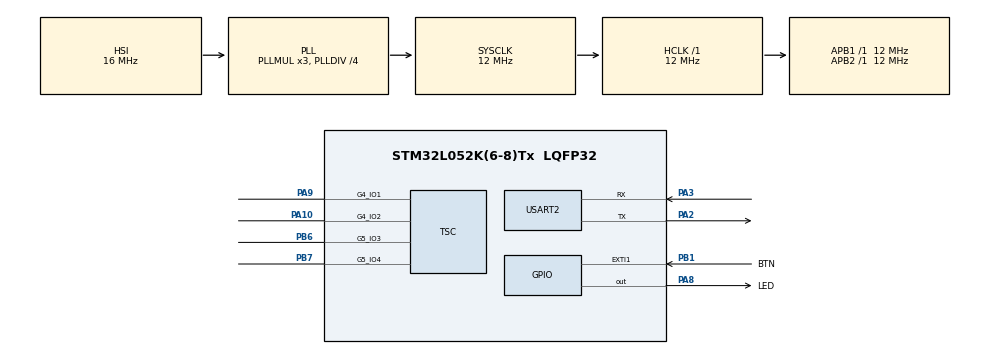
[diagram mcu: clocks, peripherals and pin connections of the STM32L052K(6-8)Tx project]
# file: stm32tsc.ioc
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Mcu.Family=STM32L0
Mcu.Name=STM32L052K(6-8)Tx
Mcu.Package=LQFP32
NVIC.EXTI0_1_IRQn=true\:0\:0\:false\:false\:true\:true
NVIC.RTC_IRQn=true\:0\:0\:false\:false\:true\:true
NVIC.TSC_IRQn=true\:0\:0\:false\:false\:true\:true
NVIC.USART2_IRQn=true\:0\:0\:false\:false\:true\:true
PA10.Mode=G4_IO2-Channel
PA10.Signal=TSC_G4_IO2
PA13.Mode=Serial_Wire
PA13.Signal=SYS_SWDIO
PA14.Mode=Serial_Wire
PA14.Signal=SYS_SWCLK
PA2.Mode=Asynchronous
PA2.Signal=USART2_TX
PA3.Mode=Asynchronous
PA3.Signal=USART2_RX
PA8.GPIO_Label=LED
PA8.GPIO_PuPd=GPIO_NOPULL
PA8.PinState=GPIO_PIN_SET
PA8.Signal=GPIO_Output
PA9.Mode=G4_IO1-Sampling
PA9.Signal=TSC_G4_IO1
PB1.GPIO_Label=BTN
PB1.GPIO_ModeDefaultEXTI=GPIO_MODE_IT_FALLING
PB1.GPIO_PuPd=GPIO_PULLUP
PB1.Signal=GPXTI1
PB6.Mode=G5_IO3-Channel
PB6.Signal=TSC_G5_IO3
PB7.Mode=G5_IO4-Sampling
PB7.Signal=TSC_G5_IO4
ProjectManager.HeapSize=0x200
ProjectManager.StackSize=0x400
ProjectManager.TargetToolchain=Makefile
RCC.AHBFreq_Value=12000000
RCC.APB1Freq_Value=12000000
RCC.APB1TimFreq_Value=12000000
RCC.APB2Freq_Value=12000000
RCC.APB2TimFreq_Value=12000000
RCC.HCLKFreq_Value=12000000
RCC.HSI16_VALUE=16000000
RCC.HSI48_VALUE=48000000
RCC.HSI_VALUE=16000000
RCC.LSE_VALUE=32768
RCC.MSI_VALUE=2097000
RCC.PLLDIV=RCC_PLLDIV_4
RCC.SYSCLKFreq_VALUE=12000000
RCC.SYSCLKSource=RCC_SYSCLKSOURCE_PLLCLK
RCC.VCOOutputFreq_Value=48000000
RTC.AsynchPrediv=124
RTC.SynchPrediv=295
RTC.WakeUpClock=RTC_WAKEUPCLOCK_RTCCLK_DIV4
RTC.WakeUpCounter=2274
TSC.CTPulseHighLength=TSC_CTPH_2CYCLES
TSC.CTPulseLowLength=TSC_CTPL_2CYCLES
TSC.ChannelIOs-G4_IO2=TSC_GROUP4_IO2
TSC.ChannelIOs-G5_IO3=TSC_GROUP5_IO3
TSC.MaxCountValue=TSC_MCV_16383
TSC.SamplingIOs-G4_IO1=TSC_GROUP4_IO1
TSC.SamplingIOs-G5_IO4=TSC_GROUP5_IO4
USART2.VirtualMode-Asynchronous=VM_ASYNC
VP_RTC_VS_RTC_Activate.Mode=RTC_Enabled
VP_RTC_VS_RTC_Calendar.Mode=RTC_Calendar
VP_RTC_VS_RTC_WakeUp_intern.Mode=WakeUp
board=custom

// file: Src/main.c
/**
  ******************************************************************************
  * @file           : main.c
  * @brief          : Main program body
  ******************************************************************************
  ** This notice applies to any and all portions of this file
  * that are not between comment pairs USER CODE BEGIN and
  * USER CODE END. Other portions of this file, whether
  * inserted by the user or by software development tools
  * are owned by their respective copyright owners.
  *
  * COPYRIGHT(c) 2018 STMicroelectronics
  *
  * Redistribution and use in source and binary forms, with or without modification,
  * are permitted provided that the following conditions are met:
  *   1. Redistributions of source code must retain the above copyright notice,
  *      this list of conditions and the following disclaimer.
  *   2. Redistributions in binary form must reproduce the above copyright notice,
  *      this list of conditions and the following disclaimer in the documentation
  *      and/or other materials provided with the distribution.
  *   3. Neither the name of STMicroelectronics nor the names of its contributors
  *      may be used to endorse or promote products derived from this software
  *      without specific prior written permission.
  *
  * THIS SOFTWARE IS PROVIDED BY THE COPYRIGHT HOLDERS AND CONTRIBUTORS "AS IS"
  * AND ANY EXPRESS OR IMPLIED WARRANTIES, INCLUDING, BUT NOT LIMITED TO, THE
  * IMPLIED WARRANTIES OF MERCHANTABILITY AND FITNESS FOR A PARTICULAR PURPOSE ARE
  * DISCLAIMED. IN NO EVENT SHALL THE COPYRIGHT HOLDER OR CONTRIBUTORS BE LIABLE
  * FOR ANY DIRECT, INDIRECT, INCIDENTAL, SPECIAL, EXEMPLARY, OR CONSEQUENTIAL
  * DAMAGES (INCLUDING, BUT NOT LIMITED TO, PROCUREMENT OF SUBSTITUTE GOODS OR
  * SERVICES; LOSS OF USE, DATA, OR PROFITS; OR BUSINESS INTERRUPTION) HOWEVER
  * CAUSED AND ON ANY THEORY OF LIABILITY, WHETHER IN CONTRACT, STRICT LIABILITY,
  * OR TORT (INCLUDING NEGLIGENCE OR OTHERWISE) ARISING IN ANY WAY OUT OF THE USE
  * OF THIS SOFTWARE, EVEN IF ADVISED OF THE POSSIBILITY OF SUCH DAMAGE.
  *
  ******************************************************************************
  */
#include "main.h"
#include "stm32l0xx_hal.h"

/* USER CODE BEGIN Includes */
#include "board.h"
#include "ByteQueue.h"
#include "SerialCom.h"
#include "myprotocol.h"
/* USER CODE END Includes */

RTC_HandleTypeDef hrtc;

TSC_HandleTypeDef htsc;

UART_HandleTypeDef huart2;

/* USER CODE BEGIN PV */
/* Private variables ---------------------------------------------------------*/
bool btn_int_flag = false;
bool rtc_int_flag = false;
bool tsc_rpt_flag = false;
unsigned btn_debounce = 0;
uint8_t buffer[MAX_PKTSIZE];

/* USER CODE END PV */

void SystemClock_Config(void);
static void MX_GPIO_Init(void);
static void MX_RTC_Init(void);
static void MX_USART2_UART_Init(void);
static void MX_TSC_Init(void);

/* USER CODE BEGIN PFP */
/* Private function prototypes -----------------------------------------------*/
void System_Init(void);
void Get_TSC_Count(uint16_t* buffer, int *len);
/* USER CODE END PFP */

int main(void)
{
  /* USER CODE BEGIN 1 */
	int len, i;
	uint8_t u8val;
	uint8_t u8buffer[MAX_PAYLOAD];
	uint16_t u16buffer[8];
  /* USER CODE END 1 */

  /* MCU Configuration----------------------------------------------------------*/

  /* Reset of all peripherals, Initializes the Flash interface and the Systick. */
  HAL_Init();

  /* Configure the system clock */
  SystemClock_Config();

  /* Initialize all configured peripherals */
  MX_GPIO_Init();
  MX_RTC_Init();
  MX_USART2_UART_Init();
  MX_TSC_Init();
  /* USER CODE BEGIN 2 */
	System_Init();
  /* USER CODE END 2 */

  /* Infinite loop */
	while (1)
	{

  /* USER CODE BEGIN 3 */
		if(ByteQueue_Get(&u8val))
		{
			// call packet decoder
			if(PKT_RECEIVED == SerialCom_Decoder(u8val, buffer))
			{
				// packet data is in the buffer
				DbgPrintf("\r\nNew packet arrived");
				// command byte
				switch(buffer[2])
				{
					case TSC_RPTVAL:
						// report TSC readings
						if(buffer[3])
						{
							tsc_rpt_flag = true;
						}
						else
						{
							tsc_rpt_flag = false;
						}
						break;

					default:
						break;
				}
			}
		}
		else if(btn_int_flag)
		{
			// clear int flag
			btn_int_flag = false;
		}
		else if(rtc_int_flag)
		{
			// clear rtc int flag
			rtc_int_flag = false;

			if(tsc_rpt_flag)
			{
				// get TSC values
				Get_TSC_Count(u16buffer, &len);
				// construct payload
				u8val = 0;
				u8buffer[u8val++] = RPT_U16X01;
				for(i = 0; i < len; i++)
				{
					u8buffer[u8val++] = (uint8_t)(u16buffer[i]>>8);
					u8buffer[u8val++] = (uint8_t)(u16buffer[i]&0xff);
				}

				SerialCom_SendPacket(u8buffer, u8val);
				LED_TOGGLE;
			}
		}
	}
  /* USER CODE END 3 */

}

void SystemClock_Config(void)
{

  RCC_OscInitTypeDef RCC_OscInitStruct;
  RCC_ClkInitTypeDef RCC_ClkInitStruct;
  RCC_PeriphCLKInitTypeDef PeriphClkInit;

    /**Configure the main internal regulator output voltage
    */
  __HAL_PWR_VOLTAGESCALING_CONFIG(PWR_REGULATOR_VOLTAGE_SCALE1);

    /**Initializes the CPU, AHB and APB busses clocks
    */
  RCC_OscInitStruct.OscillatorType = RCC_OSCILLATORTYPE_HSI|RCC_OSCILLATORTYPE_LSI;
  RCC_OscInitStruct.HSIState = RCC_HSI_ON;
  RCC_OscInitStruct.HSICalibrationValue = 16;
  RCC_OscInitStruct.LSIState = RCC_LSI_ON;
  RCC_OscInitStruct.PLL.PLLState = RCC_PLL_ON;
  RCC_OscInitStruct.PLL.PLLSource = RCC_PLLSOURCE_HSI;
  RCC_OscInitStruct.PLL.PLLMUL = RCC_PLLMUL_3;
  RCC_OscInitStruct.PLL.PLLDIV = RCC_PLLDIV_4;
  if (HAL_RCC_OscConfig(&RCC_OscInitStruct) != HAL_OK)
  {
    _Error_Handler(__FILE__, __LINE__);
  }

    /**Initializes the CPU, AHB and APB busses clocks
    */
  RCC_ClkInitStruct.ClockType = RCC_CLOCKTYPE_HCLK|RCC_CLOCKTYPE_SYSCLK
                              |RCC_CLOCKTYPE_PCLK1|RCC_CLOCKTYPE_PCLK2;
  RCC_ClkInitStruct.SYSCLKSource = RCC_SYSCLKSOURCE_PLLCLK;
  RCC_ClkInitStruct.AHBCLKDivider = RCC_SYSCLK_DIV1;
  RCC_ClkInitStruct.APB1CLKDivider = RCC_HCLK_DIV1;
  RCC_ClkInitStruct.APB2CLKDivider = RCC_HCLK_DIV1;

  if (HAL_RCC_ClockConfig(&RCC_ClkInitStruct, FLASH_LATENCY_0) != HAL_OK)
  {
    _Error_Handler(__FILE__, __LINE__);
  }

  PeriphClkInit.PeriphClockSelection = RCC_PERIPHCLK_USART2|RCC_PERIPHCLK_RTC;
  PeriphClkInit.Usart2ClockSelection = RCC_USART2CLKSOURCE_PCLK1;
  PeriphClkInit.RTCClockSelection = RCC_RTCCLKSOURCE_LSI;
  if (HAL_RCCEx_PeriphCLKConfig(&PeriphClkInit) != HAL_OK)
  {
    _Error_Handler(__FILE__, __LINE__);
  }

    /**Configure the Systick interrupt time
    */
  HAL_SYSTICK_Config(HAL_RCC_GetHCLKFreq()/1000);

    /**Configure the Systick
    */
  HAL_SYSTICK_CLKSourceConfig(SYSTICK_CLKSOURCE_HCLK);

  /* SysTick_IRQn interrupt configuration */
  HAL_NVIC_SetPriority(SysTick_IRQn, 0, 0);
}

/* RTC init function */
static void MX_RTC_Init(void)
{

  RTC_TimeTypeDef sTime;
  RTC_DateTypeDef sDate;

    /**Initialize RTC Only
    */
  hrtc.Instance = RTC;
  hrtc.Init.HourFormat = RTC_HOURFORMAT_24;
  hrtc.Init.AsynchPrediv = 124;
  hrtc.Init.SynchPrediv = 295;
  hrtc.Init.OutPut = RTC_OUTPUT_DISABLE;
  hrtc.Init.OutPutRemap = RTC_OUTPUT_REMAP_NONE;
  hrtc.Init.OutPutPolarity = RTC_OUTPUT_POLARITY_HIGH;
  hrtc.Init.OutPutType = RTC_OUTPUT_TYPE_OPENDRAIN;
  if (HAL_RTC_Init(&hrtc) != HAL_OK)
  {
    _Error_Handler(__FILE__, __LINE__);
  }

    /**Initialize RTC and set the Time and Date
    */
  sTime.Hours = 0x0;
  sTime.Minutes = 0x0;
  sTime.Seconds = 0x0;
  sTime.DayLightSaving = RTC_DAYLIGHTSAVING_NONE;
  sTime.StoreOperation = RTC_STOREOPERATION_RESET;
  if (HAL_RTC_SetTime(&hrtc, &sTime, RTC_FORMAT_BCD) != HAL_OK)
  {
    _Error_Handler(__FILE__, __LINE__);
  }

  sDate.WeekDay = RTC_WEEKDAY_MONDAY;
  sDate.Month = RTC_MONTH_JANUARY;
  sDate.Date = 0x1;
  sDate.Year = 0x0;

  if (HAL_RTC_SetDate(&hrtc, &sDate, RTC_FORMAT_BCD) != HAL_OK)
  {
    _Error_Handler(__FILE__, __LINE__);
  }

    /**Enable the WakeUp
    */
  if (HAL_RTCEx_SetWakeUpTimer_IT(&hrtc, 2274, RTC_WAKEUPCLOCK_RTCCLK_DIV4) != HAL_OK)
  {
    _Error_Handler(__FILE__, __LINE__);
  }

}

/* TSC init function */
static void MX_TSC_Init(void)
{

    /**Configure the TSC peripheral
    */
  htsc.Instance = TSC;
  htsc.Init.CTPulseHighLength = TSC_CTPH_2CYCLES;
  htsc.Init.CTPulseLowLength = TSC_CTPL_2CYCLES;
  htsc.Init.SpreadSpectrum = DISABLE;
  htsc.Init.SpreadSpectrumDeviation = 1;
  htsc.Init.SpreadSpectrumPrescaler = TSC_SS_PRESC_DIV1;
  htsc.Init.PulseGeneratorPrescaler = TSC_PG_PRESC_DIV4;
  htsc.Init.MaxCountValue = TSC_MCV_16383;
  htsc.Init.IODefaultMode = TSC_IODEF_OUT_PP_LOW;
  htsc.Init.SynchroPinPolarity = TSC_SYNC_POLARITY_FALLING;
  htsc.Init.AcquisitionMode = TSC_ACQ_MODE_NORMAL;
  htsc.Init.MaxCountInterrupt = DISABLE;
  htsc.Init.ChannelIOs = TSC_GROUP4_IO2|TSC_GROUP5_IO3;
  htsc.Init.ShieldIOs = 0;
  htsc.Init.SamplingIOs = TSC_GROUP4_IO1|TSC_GROUP5_IO4;
  if (HAL_TSC_Init(&htsc) != HAL_OK)
  {
    _Error_Handler(__FILE__, __LINE__);
  }

}

/* USART2 init function */
static void MX_USART2_UART_Init(void)
{

  huart2.Instance = USART2;
  huart2.Init.BaudRate = 115200;
  huart2.Init.WordLength = UART_WORDLENGTH_8B;
  huart2.Init.StopBits = UART_STOPBITS_1;
  huart2.Init.Parity = UART_PARITY_NONE;
  huart2.Init.Mode = UART_MODE_TX_RX;
  huart2.Init.HwFlowCtl = UART_HWCONTROL_NONE;
  huart2.Init.OverSampling = UART_OVERSAMPLING_16;
  huart2.Init.OneBitSampling = UART_ONE_BIT_SAMPLE_DISABLE;
  huart2.AdvancedInit.AdvFeatureInit = UART_ADVFEATURE_NO_INIT;
  if (HAL_UART_Init(&huart2) != HAL_OK)
  {
    _Error_Handler(__FILE__, __LINE__);
  }

}

/** Configure pins as
        * Analog
        * Input
        * Output
        * EVENT_OUT
        * EXTI
*/
static void MX_GPIO_Init(void)
{

  GPIO_InitTypeDef GPIO_InitStruct;

  /* GPIO Ports Clock Enable */
  __HAL_RCC_GPIOA_CLK_ENABLE();
  __HAL_RCC_GPIOB_CLK_ENABLE();

  /*Configure GPIO pin Output Level */
  HAL_GPIO_WritePin(LED_GPIO_Port, LED_Pin, GPIO_PIN_SET);

  /*Configure GPIO pin : BTN_Pin */
  GPIO_InitStruct.Pin = BTN_Pin;
  GPIO_InitStruct.Mode = GPIO_MODE_IT_FALLING;
  GPIO_InitStruct.Pull = GPIO_PULLUP;
  HAL_GPIO_Init(BTN_GPIO_Port, &GPIO_InitStruct);

  /*Configure GPIO pin : LED_Pin */
  GPIO_InitStruct.Pin = LED_Pin;
  GPIO_InitStruct.Mode = GPIO_MODE_OUTPUT_PP;
  GPIO_InitStruct.Pull = GPIO_NOPULL;
  GPIO_InitStruct.Speed = GPIO_SPEED_FREQ_LOW;
  HAL_GPIO_Init(LED_GPIO_Port, &GPIO_InitStruct);

  /* EXTI interrupt init*/
  HAL_NVIC_SetPriority(EXTI0_1_IRQn, 0, 0);
  HAL_NVIC_EnableIRQ(EXTI0_1_IRQn);

}

/* USER CODE BEGIN 4 */
void HAL_SYSTICK_Callback(void)
{
	if(btn_debounce)
	{
		btn_debounce--;
	}
}

void HAL_GPIO_EXTI_Callback(uint16_t GPIO_Pin)
{
	if((GPIO_Pin == BTN_Pin) && (btn_debounce == 0))
	{
		btn_int_flag = true;
		btn_debounce = 300;
	}
}

void HAL_RTCEx_WakeUpTimerEventCallback(RTC_HandleTypeDef *hrtc)
{
	UNUSED(hrtc);
	rtc_int_flag = true;
}

void System_Init()
{
	DbgPrintf("\r\nSystem initialized\r\n");
	ByteQueue_Init();
	SerialCom_Init();
}

void Get_TSC_Count(uint16_t* buffer, int *len)
{
	// discharge IO
	HAL_TSC_IODischarge(&htsc, ENABLE);
	// delay for some time
	HAL_Delay(5);
	// select channel if necessary

	// start acquisition
	HAL_TSC_Start(&htsc);

	// wait until the acquisition is done
	while (HAL_TSC_GetState(&htsc) == HAL_TSC_STATE_BUSY)
	{
	}
	// check if the acquisition is valid
	__HAL_TSC_CLEAR_FLAG(&htsc, (TSC_FLAG_EOA | TSC_FLAG_MCE));

	// return the value
	*len = 0;
	buffer[(*len)++] = (uint16_t)HAL_TSC_GroupGetValue(&htsc, TSC_GROUP4_IDX);
	buffer[(*len)++] = (uint16_t)HAL_TSC_GroupGetValue(&htsc, TSC_GROUP5_IDX);
}

/* USER CODE END 4 */

void _Error_Handler(char *file, int line)
{
	while(1)
	{
	}
}

/************************ (C) COPYRIGHT STMicroelectronics *****END OF FILE****/
